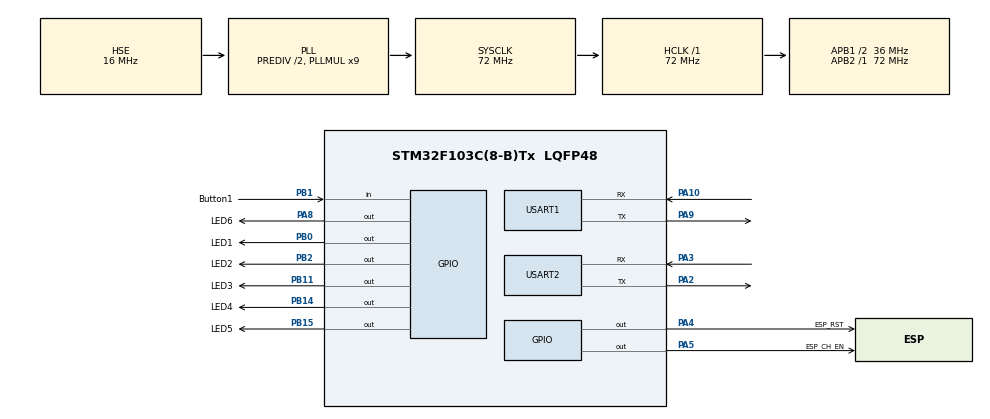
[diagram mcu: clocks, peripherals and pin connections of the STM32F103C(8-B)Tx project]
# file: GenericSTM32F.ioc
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Mcu.Family=STM32F1
Mcu.Name=STM32F103C(8-B)Tx
Mcu.Package=LQFP48
NVIC.PriorityGroup=NVIC_PRIORITYGROUP_4
NVIC.USART1_IRQn=true\:0\:0\:false\:false\:true\:true\:true
NVIC.USART2_IRQn=true\:0\:0\:false\:false\:true\:true\:true
PA10.Mode=Asynchronous
PA10.Signal=USART1_RX
PA13.Mode=Serial_Wire
PA13.Signal=SYS_JTMS-SWDIO
PA14.Mode=Serial_Wire
PA14.Signal=SYS_JTCK-SWCLK
PA2.Mode=Asynchronous
PA2.Signal=USART2_TX
PA3.Mode=Asynchronous
PA3.Signal=USART2_RX
PA4.GPIO_Label=ESP_RST
PA4.PinState=GPIO_PIN_RESET
PA4.Signal=GPIO_Output
PA5.GPIO_Label=ESP_CH_EN
PA5.Signal=GPIO_Output
PA8.GPIO_Label=LED6
PA8.PinState=GPIO_PIN_SET
PA8.Signal=GPIO_Output
PA9.Mode=Asynchronous
PA9.Signal=USART1_TX
PB0.GPIO_Label=LED1
PB0.Signal=GPIO_Output
PB1.GPIO_Label=Button1
PB1.GPIO_PuPd=GPIO_PULLUP
PB1.Signal=GPIO_Input
PB11.GPIO_Label=LED3
PB11.Signal=GPIO_Output
PB14.GPIO_Label=LED4
PB14.PinState=GPIO_PIN_SET
PB14.Signal=GPIO_Output
PB15.GPIO_Label=LED5
PB15.PinState=GPIO_PIN_SET
PB15.Signal=GPIO_Output
PB2.GPIO_Label=LED2
PB2.Signal=GPIO_Output
PD0-OSC_IN.Mode=HSE-External-Oscillator
PD0-OSC_IN.Signal=RCC_OSC_IN
PD1-OSC_OUT.Mode=HSE-External-Oscillator
PD1-OSC_OUT.Signal=RCC_OSC_OUT
ProjectManager.HeapSize=0x200
ProjectManager.StackSize=0x400
ProjectManager.TargetToolchain=STM32CubeIDE
RCC.AHBFreq_Value=72000000
RCC.APB1CLKDivider=RCC_HCLK_DIV2
RCC.APB1Freq_Value=36000000
RCC.APB1TimFreq_Value=72000000
RCC.APB2Freq_Value=72000000
RCC.APB2TimFreq_Value=72000000
RCC.HCLKFreq_Value=72000000
RCC.HSEDivPLL=RCC_HSE_PREDIV_DIV2
RCC.HSE_VALUE=16000000
RCC.PLLMUL=RCC_PLL_MUL9
RCC.PLLSourceVirtual=RCC_PLLSOURCE_HSE
RCC.SYSCLKFreq_VALUE=72000000
RCC.SYSCLKSource=RCC_SYSCLKSOURCE_PLLCLK
RCC.USBFreq_Value=72000000
USART1.VirtualMode=VM_ASYNC
USART2.VirtualMode=VM_ASYNC
board=STM32CubeMX_configuration

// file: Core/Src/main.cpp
/* USER CODE BEGIN Header */
/**
  ******************************************************************************
  * @file           : main.c
  * @brief          : Main program body
  ******************************************************************************
  * @attention
  *
  * <h2><center>&copy; Copyright (c) 2021 STMicroelectronics.
  * All rights reserved.</center></h2>
  *
  * This software component is licensed by ST under BSD 3-Clause license,
  * the "License"; You may not use this file except in compliance with the
  * License. You may obtain a copy of the License at:
  *                        opensource.org/licenses/BSD-3-Clause
  *
  ******************************************************************************
  * @file    main.cpp
  * @author  Ostap Kostyk
  * @brief   main program body
  *
  ******************************************************************************
  * Copyright (C) 2021  Ostap Kostyk
  * This notice applies to any and all portions of this file
  * that are between comment pairs USER CODE BEGIN and
  * USER CODE END.
  *
  * This program is free software: you can redistribute it and/or modify
  * it under the terms of the GNU General Public License as published by
  * the Free Software Foundation, either version 3 of the License, or
  * (at your option) any later version.
  *
  * This program is distributed in the hope that it will be useful,
  * but WITHOUT ANY WARRANTY; without even the implied warranty of
  * MERCHANTABILITY or FITNESS FOR A PARTICULAR PURPOSE.  See the
  * GNU General Public License for more details.
  *
  * You should have received a copy of the GNU General Public License
  * along with this program.  If not, see <http://www.gnu.org/licenses/>.
  ******************************************************************************
  * Author contact information: Ostap Kostyk, email: ostap.kostyk@gmail.com
  ******************************************************************************
  */
/* USER CODE END Header */
#include "main.h"

/* USER CODE BEGIN Includes */
extern "C" {
#include "My_hal_uart_stm32f1xx.h"
//#include <stdio.h>
#include "CircularBuffer.h"

#ifdef EEPROM_EMULATION_EN
#include "eeprom.h"
#endif

#include "ESP8266_Interface.h"
}
#include "Timer.h"
#include "LED.h"
#include "Button.h"
#include "ESP8266.hpp"
#include "HTTP_Server.hpp"

using namespace mTimer;
using namespace OKO_ESP8266;
using namespace OKO_HTTP_SERVER;
/* USER CODE END Includes */

UART_HandleTypeDef huart1;
UART_HandleTypeDef huart2;

/* USER CODE BEGIN PV */
/* circular buffer structures (not a buffers themselves) for standard input/output */
circular_buffer StdInOut_cb_Rx;
circular_buffer StdInOut_cb_Tx;

#ifdef EEPROM_EMULATION_EN
/* EEPROM Emulation */
/* Virtual address defined by the user: 0xFFFF value is prohibited */
EE_Data_t EE_Data;
uint16_t VirtAddVarTab[NB_OF_VAR];
uint16_t EE_Status;
#else
/* normally EEPROM emulation is used and application uses structures defined by eeprom module.
 * for simplicity of example application, those structures are defined below if EEPROM emulation is not used
 * to avoid enclosing a lot of code below in #ifdef EEPROM_EMULATION_EN #endif pair*/
#define EE_WIFI_SSID_LEN 22

struct
{
  uint16_t Init;
  uint32_t BlueLEDOnTime;
  uint32_t BlueLEDOffTime;
  uint16_t BlueLEDMode;
  char     WiFi_SSID[EE_WIFI_SSID_LEN];
} EE_Data;

//save_data_t EE_Data;
#endif

#ifdef EXAMPLE_TIMER
Timer TestTimer{};
#endif

/*   LEDs   */
/* Here we create LED instances. Port and Pin declarations came from autogenerated by CubeMX code */
LED   LED2{LED2_GPIO_Port, LED2_Pin, LED::eActiveLevel::High};
LED   LED3{LED3_GPIO_Port, LED3_Pin, LED::eActiveLevel::High};
LED   LED4{LED4_GPIO_Port, LED4_Pin, LED::eActiveLevel::Low};
LED   LED5{LED5_GPIO_Port, LED5_Pin, LED::eActiveLevel::Low};
LED   LED6{LED6_GPIO_Port, LED6_Pin, LED::eActiveLevel::Low};

enum class LEDMode : uint16_t {Off=0, On, Blink};

LEDMode BlueLEDMode = LEDMode::Off;

/*   Buttons  */
/* Here we create Buttons instances. Port and Pin declarations came from autogenerated by CubeMX code */
Button Button1{Button1_GPIO_Port, Button1_Pin, Button::ePressedLevel::Low};

/* Below are sizes of In and Out circular buffers for standard input/output */
#define STD_IN_CB_SIZE      200
#define STD_OUT_CB_SIZE     200

/* Create ESP instance */
ESP ESP1{ESP1_HUART_NUM};

/* Create HTTP server instance */
HTTP_Server MyHTTPServer{&ESP1};

/*************************************************************
 *      TCP/IP communication
 *************************************************************/
static char AccessPointName[EE_WIFI_SSID_LEN] = "ESP";
static char AccessPointPassword[] = "1234567890";
static const uint32_t AP_DefaultIP = 0xc0a80001;
static const uint32_t AP_DefaultNetMask = 0xFFFFFF00;

#define WIFI_RX_DATA_BUF_SZ     500

static uint8_t  WiFi_Step = 0;
/* USER CODE END PV */

void SystemClock_Config(void);
static void MX_GPIO_Init(void);
static void MX_USART1_UART_Init(void);
static void MX_USART2_UART_Init(void);

/* USER CODE BEGIN 0 */
void BlockingFaultHandler(void)
{
   while(1)
   {

   }
}

void HAL_SYSTICK_Callback(void)
{
/*Warning: timers handler below is called from interrupt so can influence application significantly if there are many timers created.
           If this is a problem then the handler should be moved outside interrupt (can be called using global variable incremented here).
           Timers will be less accurate in this case */
Timer::Tick();  /*  handles all timers created in IRQ. */
HAL_IncTick();
}

/* Hardware-dependent function called from LED class */
void LEDWritePin (GPIO_TypeDef* Port, uint16_t Pin, GPIO_PinState PinState)
{
    HAL_GPIO_WritePin(Port, Pin, PinState);
}

/* Hardware-dependent function called from Button class */
int ButtonReadPin (PORT_DEF Port, PIN_NUM_DEF Pin)
{
    if(HAL_GPIO_ReadPin(Port, Pin) == GPIO_PIN_SET) { return 1; }

    return 0;
}

/* Blue LED control with saving last state to EEPROM */
void BlueLEDSwitchMode(LEDMode mode)
{
bool WriteToEEprom = true;

    switch(mode)
    {
    case LEDMode::On:
        BlueLEDMode = LEDMode::On;
        LED3.On();
        EE_Data.BlueLEDMode = (uint16_t)LEDMode::On;
        break;

    case LEDMode::Blink:
        BlueLEDMode = LEDMode::Blink;
        LED3.Blink(EE_Data.BlueLEDOnTime, EE_Data.BlueLEDOffTime, true);
        EE_Data.BlueLEDMode = (uint16_t)LEDMode::Blink;
        break;

    case LEDMode::Off:
        BlueLEDMode = LEDMode::Off;
        LED3.Off();
        EE_Data.BlueLEDMode = (uint16_t)LEDMode::Off;
        break;

    default:
        BlueLEDMode = LEDMode::Off;
        LED3.Off();
        EE_Data.BlueLEDMode = (uint16_t)LEDMode::Off;
        WriteToEEprom = false;
        break;
    }

#ifdef EEPROM_EMULATION_EN
    if(WriteToEEprom && EE_Status == 0)
    {
        EE_Status += EE_WriteElem((uint16_t*)&EE_Data.BlueLEDMode, sizeof(EE_Data.BlueLEDMode));
        if(EE_Status) { debug_print("EE Write ERROR (BlueLEDMode):%x\r\n", EE_Status); }
    }
#endif
}

/* Read-out settings of Blue LED from HTTP request, apply it and save to EEPROM */
void ReadLEDSettingsFromHTTP(void)
{
    if(HTTPVariable::HTTPVariableReceivedFlag)
    {
        if(HTTP_VAR_BlueLEDBlinkTimeOn.NewValueReceived() && HTTP_VAR_BlueLEDBlinkTimeOff.NewValueReceived())   //  "BlueLEDBlinkTimeOn" and "BlueLEDBlinkTimeOff" are received
        {
            if(HTTP_VAR_BlueLEDBlinkTimeOn.GetValueInteger() > 0 && HTTP_VAR_BlueLEDBlinkTimeOff.GetValueInteger() > 0)
            {
#ifdef EEPROM_EMULATION_EN
                EE_Data.BlueLEDOnTime = HTTP_VAR_BlueLEDBlinkTimeOn.GetValueInteger();
                EE_Data.BlueLEDOffTime = HTTP_VAR_BlueLEDBlinkTimeOff.GetValueInteger();

                if(EE_Status == 0)
                {
                    EE_Status += EE_WriteElem((uint16_t*)&EE_Data.BlueLEDOnTime, sizeof(EE_Data.BlueLEDOnTime));
                    EE_Status += EE_WriteElem((uint16_t*)&EE_Data.BlueLEDOffTime, sizeof(EE_Data.BlueLEDOffTime));
                    if(EE_Status) { debug_print("EE Write ERROR:%x\r\n", EE_Status); }
                }
#endif
                if(BlueLEDMode == LEDMode::Blink)
                {
                    LED3.Blink(EE_Data.BlueLEDOnTime, EE_Data.BlueLEDOffTime, true);
                }
            }
        }
    }
}

/* Read-out WiFi SSID from HTTP request, validate it and save to EEPROM */
void UpdateSSIDfromHTTP(void)
{
int pos, len;
char* pWiFiSSIDTxt;

    if(HTTPVariable::HTTPVariableReceivedFlag)
    {
        if(HTTP_VAR_WiFiSSID.NewValueReceived())   /* "WiFiSSID" received */
        {
            /* validate new name: */
            pos = 0;
            pWiFiSSIDTxt = HTTP_VAR_WiFiSSID.GetText();
            if(pWiFiSSIDTxt == 0) { return; }
            len = strlen(pWiFiSSIDTxt);
            sscanf(pWiFiSSIDTxt, "%*[0-9a-zA-Z_-]%n", &pos);  /*  allowed symbols are numbers, a-z, A-Z and underscore */
            if(pos && pos == len && len < EE_WIFI_SSID_LEN)  /*  if string is not empty and contain only allowed symbols */
            {
                /* save new name: */
#ifdef EEPROM_EMULATION_EN
                strncpy(EE_Data.WiFi_SSID, pWiFiSSIDTxt, EE_WIFI_SSID_LEN-1);    /*  update EEPROM data before saving to flash */
                EE_WriteElem((uint16_t*)&EE_Data.WiFi_SSID, EE_WIFI_SSID_LEN);  /*  save to EEPROM */
#endif
            }
        }
    }
}

/* HTTP pages rendering: generate dynamic parts of HTTP pages */
bool HTTP_RenderPage(int PageIndex, char *pHostName, bool **pProcessSemaphore)
{
size_t len;
char *pText;

    *pProcessSemaphore = 0;  /*  no semaphore assigned */

    switch(PageIndex)
    {
    /* index.html */
    case 0:
        if(HTTPVariable::HTTPVariableReceivedFlag)    /*  Global variable, becomes true if any variable from global list received (to save CPU time) */
        {
            if(HTTP_VAR_BlueLEDMode.NewValueReceived())   /*  "BlueLEDMode" received (Text variable) */
            {
                pText = HTTP_VAR_BlueLEDMode.GetText();

                if(0 == strcmp(pText, "ON"))
                {
                    BlueLEDSwitchMode(LEDMode::On); /* turn on blue LED */
                }
                else if(0 == strcmp(pText, "OFF"))
                {
                    BlueLEDSwitchMode(LEDMode::Off); /* turn off blue LED */
                }
                else if(0 == strcmp(pText, "BLINK"))
                {
                    BlueLEDSwitchMode(LEDMode::Blink);  /*  Blink the blue LED */
                }
            }
        }

        len = strlen(HTTP_Index_Body2); /*  HTTP_Index_Body2 string created outside, need to check if it is not empty before writing to it */

        if(len == 0) { return false; }  /*  internal error, page cannot be generated */

        /* Generate dynamic part of index.htm page showing current LED mode */
        switch(BlueLEDMode)
        {
        case LEDMode::On:    snprintf(HTTP_Index_Body2, len+1, "1"); break;        /*  number must fit HTML code */
        case LEDMode::Blink: snprintf(HTTP_Index_Body2, len+1, "2"); break;
        default:
        case LEDMode::Off:   snprintf(HTTP_Index_Body2, len+1, "0"); break;
        }

        return true;

	break;

	/* settings.html */
	case 1:
		/* First read-out data from HTTP request to apply it and immediately generate new status info for the page */
		ReadLEDSettingsFromHTTP();
		UpdateSSIDfromHTTP();
		/* Generate dynamic parts of settings.html */
		snprintf(pHTTP_StringForRendering, HTML_RENDER_STR_SIZE-1, "<p id=\"BLEDOnAct\", visibility: hidden>%d</p>\n<p id=\"BLEDOffAct\", visibility: hidden>%d</p>", (int)EE_Data.BlueLEDOnTime, (int)EE_Data.BlueLEDOffTime);
		snprintf(pHTTP_StringForRendering2, HTML_RENDER_STR_SIZE2-1, "Actual: \"%s\"<br />", EE_Data.WiFi_SSID);
		return true;
		break;

	default:
		return false;
    }

    return false;
}
/* USER CODE END 0 */

int main(void)
{
  /* USER CODE BEGIN 1 */
	  memmgr_init();

	#ifdef EEPROM_EMULATION_EN
	  /* EEPROM EMULATION-RELATED */
	  EE_AddrInit();
	  /* Unlock the Flash Program Erase controller */
	  HAL_FLASH_Unlock();

	  /* Init EEPROM Emulation */
	  EE_Status = EE_Init();

	  /* END OF EEPROM EMULATION-RELATED */
	#endif

  /* USER CODE END 1 */

  /* MCU Configuration--------------------------------------------------------*/

  /* Reset of all peripherals, Initializes the Flash interface and the Systick. */
  HAL_Init();

  /* Configure the system clock */
  SystemClock_Config();

  /* Initialize all configured peripherals */
  MX_GPIO_Init();
  MX_USART1_UART_Init();
  MX_USART2_UART_Init();
  /* USER CODE BEGIN 2 */
  /* Configure UART for std in/out */
  if(SUCCESS != Init_USART_CB(&stdinout_huart, &StdInOut_cb_Rx, &StdInOut_cb_Tx, STD_IN_CB_SIZE, STD_OUT_CB_SIZE, sizeof(U8)))
  {
      BlockingFaultHandler();
  }
  Start_USART_Rx_IT(&stdinout_huart);

  /* stdout test */
  printf("Copyright (c) 2021 Ostap Kostyk\r\n");
  debug_print("START\r\n");

#ifdef EXAMPLE_TIMER
  //Timer example
  TestTimer.Set(_1sec_);
  TestTimer.Reset();
#endif

  /* Turn Off all LEDs at start */
  LED2.Off();
  LED4.Off();
  LED5.Off();
  LED6.Off();

#ifdef EEPROM_EMULATION_EN
  if(0 == EE_Status)
  {
      EE_Status = EE_InitData();
      if(EE_Status) { debug_print("EE Data Init ERROR:%x\r\n", EE_Status); }
  }
  else
  {
      debug_print("EE Init ERROR:%x\r\n", EE_Status);
  }
#endif

#ifdef EEPROM_EMULATION_EN
  /* read-out settings from flash */

  /* read magic number from EEPROM to identify if EEPROM is empty after flashing memory and therefore data are incorrect */
  EE_Status += EE_ReadElem((uint16_t*)&EE_Data.Init, sizeof(EE_Data.Init));
  /* restore Blue LED settings from EEPROM */
  EE_Status += EE_ReadElem((uint16_t*)&EE_Data.BlueLEDOnTime, sizeof(EE_Data.BlueLEDOnTime));
  EE_Status += EE_ReadElem((uint16_t*)&EE_Data.BlueLEDOffTime, sizeof(EE_Data.BlueLEDOffTime));
  EE_Status += EE_ReadElem((uint16_t*)&EE_Data.BlueLEDMode, sizeof(EE_Data.BlueLEDMode));
  if(EE_Status)     /*  error occurred while reading EEPROM */
  {
      EE_Data.BlueLEDOnTime = _100ms_;
      EE_Data.BlueLEDOffTime = _100ms_;
      debug_print("EE Read ERROR:%x\r\n", EE_Status);
      LED3.Blink(EE_Data.BlueLEDOnTime, EE_Data.BlueLEDOffTime, true);  /*  indicate problem by fast blinking */
  }
  else      /*  data have been read-out correctly from EEPROM */
  {
      if(EE_Data.Init != EE_INIT_MAGIC_NUMBER)  /*  EEPROM is uninitialized, write default values */
      {
          /* write default SSID to eeprom */
          strncpy(EE_Data.WiFi_SSID, AccessPointName, EE_WIFI_SSID_LEN);
          EE_Status += EE_WriteElem((uint16_t*)&EE_Data.WiFi_SSID, EE_WIFI_SSID_LEN);
          /* write default settings of blue LED */
          EE_Data.BlueLEDMode = (uint16_t)LEDMode::Off;
          EE_Data.BlueLEDOnTime = _100ms_;
          EE_Data.BlueLEDOffTime = _900ms_;
          EE_Status += EE_WriteElem((uint16_t*)&EE_Data.BlueLEDMode, sizeof(EE_Data.BlueLEDMode));
          EE_Status += EE_WriteElem((uint16_t*)&EE_Data.BlueLEDOnTime, sizeof(EE_Data.BlueLEDOnTime));
          EE_Status += EE_WriteElem((uint16_t*)&EE_Data.BlueLEDOffTime, sizeof(EE_Data.BlueLEDOffTime));
          if(EE_Status == 0)    /*  all data saved successfully, write magic number to EEPROM indicating that the data are correct */
          {
              EE_Data.Init = EE_INIT_MAGIC_NUMBER;
              EE_Status += EE_WriteElem((uint16_t*)&EE_Data.Init, sizeof(EE_Data.Init));
          }
      }
      else      /*  data in EEPROM are OK, restore WiFi SSID */
      {
          if(strlen(EE_Data.WiFi_SSID) < EE_WIFI_SSID_LEN)
          {
              strcpy(AccessPointName, EE_Data.WiFi_SSID);
          }
      }

      BlueLEDSwitchMode((LEDMode)EE_Data.BlueLEDMode);  /*  start blue LED according to it's settings from EEPROM */
      debug_print("BlueLEDMode = %u\r\n", EE_Data.BlueLEDMode);
  }

#endif  /* END OF #ifdef EEPROM_EMULATION_EN */

  /* Start WiFi module */
  ESP1.ModuleToggle(ESP::eModuleToggle::Enable);

  /* USER CODE END 2 */

  /* Infinite loop */
  while (1)
  {

    /* USER CODE BEGIN 3 */
	   /* Handle LEDs */
	    LED::Ctrl();

	    /* Handle Buttons */
	    Button::Ctrl();

	    /* Test Button functions */
	    if(Button1.GetState() == Button::eState::Pressed) { LED2.On(); }    /*  Turn LED2 On while button is pressed */
	    else                                              { LED2.Off(); }   /*  Turn LED2 Off while button is released */

	    if(Button1.PressedEvent())  /*  Button has been pressed event */
	    {
	        Button1.ClearPressedEvent();    /*  Clear event */
	        LED4.Off();
	    }

	    if(Button1.ReleasedEvent())
	    {
	        Button1.ClearReleasedEvent();
	        /*  turn LED4 On for a time of which button kept pressed last time (to test Button, LED and Timer classes) */
	        LED4.BlinkNtimes(Button1.GetPressedTime(), _100ms_, 1);
	    }

	/****************************************************
	 *          WiFi Communication
	 ****************************************************/
	ESP1.Process();     /*  WiFi module main handler (can be skipped when WiFi communication is not needed to save CPU resources) */

	  if(ESP1.isModuleReady())  /*  Module replied on test request so it is alive */
	  {
	      switch(WiFi_Step)
	      {
	      /* First, start Access Point and Server */
	      case 0:
	      do
	      {
	        if(ESP1.GetCurrentModuleMode() == ESP::eModuleMode::Undefined)
	        {
	            ESP1.SwitchToAccessPointMode(AccessPointName, (char*)AccessPointPassword, 6, ESP::eECNType::WPA2_PSK);  /*  Switches WiFi module to AccessPoint mode (not Station) */
	        }
	        else if(ESP1.GetCurrentModuleMode() == ESP::eModuleMode::AccessPoint)   /*  switched to AccessPoint mode successfully */
	        {
	          /*  start AP */
	          if(ESP1.LocalAccessPointState() == ESP::eAccessPointState::Started)   /*  AccessPoint started */
	          {
	              /*  start server */
	              switch(ESP1.GetServerState())
	              {
	              case ESP::eServerState::Connected:
	                  if(ESP1.SetAccessPointIP(AP_DefaultIP, AP_DefaultIP, AP_DefaultNetMask)) break;    //  wait for IP change
	                  WiFi_Step++;  /*  go to next step */
	                  break;

	              case ESP::eServerState::Disconnected:
	              case ESP::eServerState::Undefined:
	                  ESP1.StartServer((unsigned int)80);
	                  break;

	              case ESP::eServerState::Error:
	              case ESP::eServerState::ConnectTimeout:
	              default:
	                  //TODO
	                  break;
	              }
	          }
	        }
	        else
	        {
	          /* Error */
	        }
	      }while(0);
	      break;

	      case 1:
	          if(ESP1.GetServerState() != ESP::eServerState::Connected)     /*  if server stopped (or module restarted, etc.) - restart it */
	          {
	              WiFi_Step = 0;
	              break;
	          }

	          /*  run HTTP server */
	          MyHTTPServer.Handle();
	          break;

	      default:
	          WiFi_Step = 0;
	          break;
	      }
	  }
	  else
	  {

	  }

	  HTTPVariable::HTTPVariableReceivedFlag = false; //  clear global flag indicating that there is/are variable(s) received from client (this flag indicates new data coming from HTTP client)

	/******** END OF ESP PART ******/

	#if 0
	    // Reception from stdin example:
	    char mystr[20] = "";

	    /* Attention! Next line blocks execution of main cycle until user enters text line! */
	    fgets(mystr, 19, stdin);

	    if(strstr(mystr, "ok")) { debug_print("Received\r\n"); }
	    // End of Reception from stdin example
	#endif
  }
  /* USER CODE END 3 */
}

void SystemClock_Config(void)
{
  RCC_OscInitTypeDef RCC_OscInitStruct = {0};
  RCC_ClkInitTypeDef RCC_ClkInitStruct = {0};

  /** Initializes the RCC Oscillators according to the specified parameters
  * in the RCC_OscInitTypeDef structure.
  */
  RCC_OscInitStruct.OscillatorType = RCC_OSCILLATORTYPE_HSE;
  RCC_OscInitStruct.HSEState = RCC_HSE_ON;
  RCC_OscInitStruct.HSEPredivValue = RCC_HSE_PREDIV_DIV2;
  RCC_OscInitStruct.HSIState = RCC_HSI_ON;
  RCC_OscInitStruct.PLL.PLLState = RCC_PLL_ON;
  RCC_OscInitStruct.PLL.PLLSource = RCC_PLLSOURCE_HSE;
  RCC_OscInitStruct.PLL.PLLMUL = RCC_PLL_MUL9;
  if (HAL_RCC_OscConfig(&RCC_OscInitStruct) != HAL_OK)
  {
    Error_Handler();
  }
  /** Initializes the CPU, AHB and APB buses clocks
  */
  RCC_ClkInitStruct.ClockType = RCC_CLOCKTYPE_HCLK|RCC_CLOCKTYPE_SYSCLK
                              |RCC_CLOCKTYPE_PCLK1|RCC_CLOCKTYPE_PCLK2;
  RCC_ClkInitStruct.SYSCLKSource = RCC_SYSCLKSOURCE_PLLCLK;
  RCC_ClkInitStruct.AHBCLKDivider = RCC_SYSCLK_DIV1;
  RCC_ClkInitStruct.APB1CLKDivider = RCC_HCLK_DIV2;
  RCC_ClkInitStruct.APB2CLKDivider = RCC_HCLK_DIV1;

  if (HAL_RCC_ClockConfig(&RCC_ClkInitStruct, FLASH_LATENCY_2) != HAL_OK)
  {
    Error_Handler();
  }
}

static void MX_USART1_UART_Init(void)
{

  huart1.Instance = USART1;
  huart1.Init.BaudRate = 115200;
  huart1.Init.WordLength = UART_WORDLENGTH_8B;
  huart1.Init.StopBits = UART_STOPBITS_1;
  huart1.Init.Parity = UART_PARITY_NONE;
  huart1.Init.Mode = UART_MODE_TX_RX;
  huart1.Init.HwFlowCtl = UART_HWCONTROL_NONE;
  huart1.Init.OverSampling = UART_OVERSAMPLING_16;
  if (HAL_UART_Init(&huart1) != HAL_OK)
  {
    Error_Handler();
  }

}

static void MX_USART2_UART_Init(void)
{

  huart2.Instance = USART2;
  huart2.Init.BaudRate = 115200;
  huart2.Init.WordLength = UART_WORDLENGTH_8B;
  huart2.Init.StopBits = UART_STOPBITS_1;
  huart2.Init.Parity = UART_PARITY_NONE;
  huart2.Init.Mode = UART_MODE_TX_RX;
  huart2.Init.HwFlowCtl = UART_HWCONTROL_NONE;
  huart2.Init.OverSampling = UART_OVERSAMPLING_16;
  if (HAL_UART_Init(&huart2) != HAL_OK)
  {
    Error_Handler();
  }

}

static void MX_GPIO_Init(void)
{
  GPIO_InitTypeDef GPIO_InitStruct = {0};

  /* GPIO Ports Clock Enable */
  __HAL_RCC_GPIOD_CLK_ENABLE();
  __HAL_RCC_GPIOA_CLK_ENABLE();
  __HAL_RCC_GPIOB_CLK_ENABLE();

  /*Configure GPIO pin Output Level */
  HAL_GPIO_WritePin(GPIOA, ESP_RST_Pin|ESP_CH_EN_Pin, GPIO_PIN_RESET);

  /*Configure GPIO pin Output Level */
  HAL_GPIO_WritePin(GPIOB, LED1_Pin|LED2_Pin|LED3_Pin, GPIO_PIN_RESET);

  /*Configure GPIO pin Output Level */
  HAL_GPIO_WritePin(GPIOB, LED4_Pin|LED5_Pin, GPIO_PIN_SET);

  /*Configure GPIO pin Output Level */
  HAL_GPIO_WritePin(LED6_GPIO_Port, LED6_Pin, GPIO_PIN_SET);

  /*Configure GPIO pins : ESP_RST_Pin ESP_CH_EN_Pin LED6_Pin */
  GPIO_InitStruct.Pin = ESP_RST_Pin|ESP_CH_EN_Pin|LED6_Pin;
  GPIO_InitStruct.Mode = GPIO_MODE_OUTPUT_PP;
  GPIO_InitStruct.Pull = GPIO_NOPULL;
  GPIO_InitStruct.Speed = GPIO_SPEED_FREQ_LOW;
  HAL_GPIO_Init(GPIOA, &GPIO_InitStruct);

  /*Configure GPIO pins : LED1_Pin LED2_Pin LED3_Pin LED4_Pin
                           LED5_Pin */
  GPIO_InitStruct.Pin = LED1_Pin|LED2_Pin|LED3_Pin|LED4_Pin
                          |LED5_Pin;
  GPIO_InitStruct.Mode = GPIO_MODE_OUTPUT_PP;
  GPIO_InitStruct.Pull = GPIO_NOPULL;
  GPIO_InitStruct.Speed = GPIO_SPEED_FREQ_LOW;
  HAL_GPIO_Init(GPIOB, &GPIO_InitStruct);

  /*Configure GPIO pin : Button1_Pin */
  GPIO_InitStruct.Pin = Button1_Pin;
  GPIO_InitStruct.Mode = GPIO_MODE_INPUT;
  GPIO_InitStruct.Pull = GPIO_PULLUP;
  HAL_GPIO_Init(Button1_GPIO_Port, &GPIO_InitStruct);

}

void Error_Handler(void)
{
  __disable_irq();
  while (1)
  {
  }
}

/************************ (C) COPYRIGHT STMicroelectronics *****END OF FILE****/
